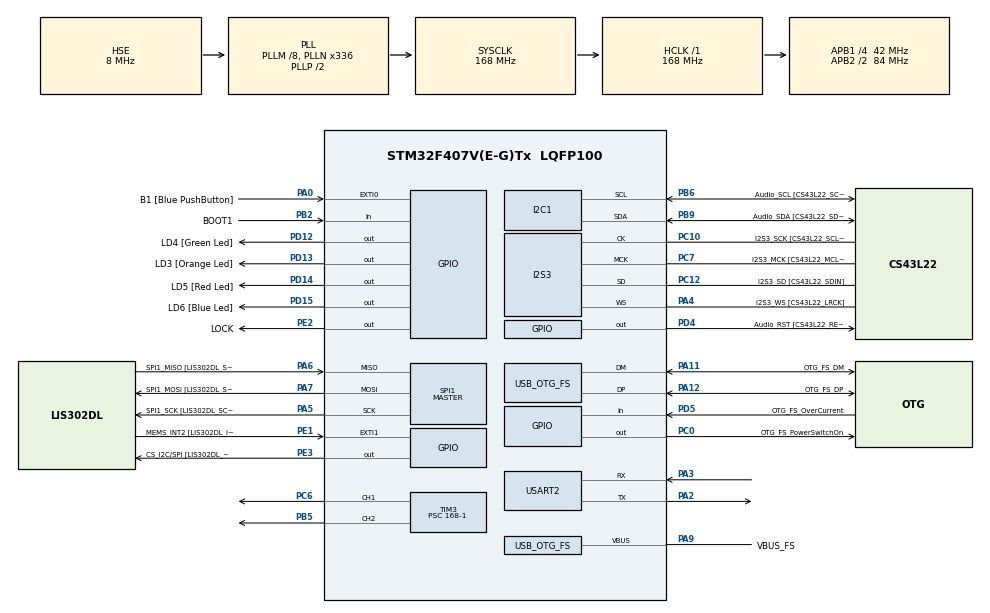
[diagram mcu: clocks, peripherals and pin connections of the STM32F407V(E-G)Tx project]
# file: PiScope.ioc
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Dma.Request0=USART2_RX
Dma.Request1=USART2_TX
Dma.USART2_RX.0.Direction=DMA_PERIPH_TO_MEMORY
Dma.USART2_RX.0.FIFOMode=DMA_FIFOMODE_DISABLE
Dma.USART2_RX.0.Instance=DMA1_Stream5
Dma.USART2_RX.0.MemDataAlignment=DMA_MDATAALIGN_BYTE
Dma.USART2_RX.0.MemInc=DMA_MINC_ENABLE
Dma.USART2_RX.0.Mode=DMA_NORMAL
Dma.USART2_RX.0.PeriphDataAlignment=DMA_PDATAALIGN_BYTE
Dma.USART2_RX.0.PeriphInc=DMA_PINC_DISABLE
Dma.USART2_RX.0.Priority=DMA_PRIORITY_LOW
Dma.USART2_TX.1.Direction=DMA_MEMORY_TO_PERIPH
Dma.USART2_TX.1.FIFOMode=DMA_FIFOMODE_DISABLE
Dma.USART2_TX.1.Instance=DMA1_Stream6
Dma.USART2_TX.1.MemDataAlignment=DMA_MDATAALIGN_BYTE
Dma.USART2_TX.1.MemInc=DMA_MINC_ENABLE
Dma.USART2_TX.1.Mode=DMA_NORMAL
Dma.USART2_TX.1.PeriphDataAlignment=DMA_PDATAALIGN_BYTE
Dma.USART2_TX.1.PeriphInc=DMA_PINC_DISABLE
Dma.USART2_TX.1.Priority=DMA_PRIORITY_LOW
I2S3.AudioFreq-Half_Duplex_Master=I2S_AUDIOFREQ_96K
I2S3.ErrorAudioFreq=-2.34 %
I2S3.ErrorAudioFreq-Half_Duplex_Master=0.8 %
I2S3.FullDuplexMode=I2S_FULLDUPLEXMODE_DISABLE
I2S3.Instance=SPI$Index
I2S3.RealAudioFreq=93.75 KHz
I2S3.RealAudioFreq-Half_Duplex_Master=96.774 KHz
I2S3.VirtualMode=I2S_MODE_MASTER
Mcu.Family=STM32F4
Mcu.Name=STM32F407V(E-G)Tx
Mcu.Package=LQFP100
NVIC.DMA1_Stream5_IRQn=true\:0\:0\:false\:false\:true\:false\:true\:true
NVIC.DMA1_Stream6_IRQn=true\:0\:0\:false\:false\:true\:false\:true\:true
NVIC.OTG_FS_IRQn=true\:0\:0\:false\:false\:true\:true\:true\:true
NVIC.PriorityGroup=NVIC_PRIORITYGROUP_0
PA0-WKUP.GPIO_Label=B1 [Blue PushButton]
PA0-WKUP.GPIO_ModeDefaultEXTI=GPIO_MODE_EVT_RISING
PA0-WKUP.GPIO_PuPd=GPIO_NOPULL
PA0-WKUP.Signal=GPXTI0
PA10.GPIO_Label=OTG_FS_ID
PA10.GPIO_Mode=GPIO_MODE_AF_PP
PA10.GPIO_PuPd=GPIO_NOPULL
PA10.GPIO_Speed=GPIO_SPEED_FREQ_LOW
PA10.Signal=USB_OTG_FS_ID
PA11.GPIO_Label=OTG_FS_DM
PA11.GPIO_Mode=GPIO_MODE_AF_PP
PA11.GPIO_PuPd=GPIO_NOPULL
PA11.GPIO_Speed=GPIO_SPEED_FREQ_LOW
PA11.Mode=Device_Only
PA11.Signal=USB_OTG_FS_DM
PA12.GPIO_Label=OTG_FS_DP
PA12.GPIO_Mode=GPIO_MODE_AF_PP
PA12.GPIO_PuPd=GPIO_NOPULL
PA12.GPIO_Speed=GPIO_SPEED_FREQ_LOW
PA12.Mode=Device_Only
PA12.Signal=USB_OTG_FS_DP
PA13.GPIO_Label=SWDIO
PA13.Mode=Serial_Wire
PA13.Signal=SYS_JTMS-SWDIO
PA14.GPIO_Label=SWCLK
PA14.Mode=Serial_Wire
PA14.Signal=SYS_JTCK-SWCLK
PA2.Mode=Asynchronous
PA2.Signal=USART2_TX
PA3.Mode=Asynchronous
PA3.Signal=USART2_RX
PA4.GPIO_Label=I2S3_WS [CS43L22_LRCK]
PA4.GPIO_Mode=GPIO_MODE_AF_PP
PA4.GPIO_PuPd=GPIO_NOPULL
PA4.GPIO_Speed=GPIO_SPEED_FREQ_LOW
PA4.Mode=Half_Duplex_Master
PA4.Signal=I2S3_WS
PA5.GPIO_Label=SPI1_SCK [LIS302DL_SCL/SPC]
PA5.GPIO_Mode=GPIO_MODE_AF_PP
PA5.GPIO_PuPd=GPIO_NOPULL
PA5.GPIO_Speed=GPIO_SPEED_FREQ_LOW
PA5.Mode=Full_Duplex_Master
PA5.Signal=SPI1_SCK
PA6.GPIO_Label=SPI1_MISO [LIS302DL_SDO]
PA6.GPIO_Mode=GPIO_MODE_AF_PP
PA6.GPIO_PuPd=GPIO_NOPULL
PA6.GPIO_Speed=GPIO_SPEED_FREQ_LOW
PA6.Mode=Full_Duplex_Master
PA6.Signal=SPI1_MISO
PA7.GPIO_Label=SPI1_MOSI [LIS302DL_SDA/SDI/SDO]
PA7.GPIO_Mode=GPIO_MODE_AF_PP
PA7.GPIO_PuPd=GPIO_NOPULL
PA7.GPIO_Speed=GPIO_SPEED_FREQ_LOW
PA7.Mode=Full_Duplex_Master
PA7.Signal=SPI1_MOSI
PA9.GPIO_Label=VBUS_FS
PA9.GPIO_Mode=GPIO_MODE_INPUT
PA9.GPIO_PuPd=GPIO_NOPULL
PA9.Mode=Activate_VBUS
PA9.Signal=USB_OTG_FS_VBUS
PB10.GPIO_Label=CLK_IN [MP45DT02_CLK]
PB10.GPIO_Mode=GPIO_MODE_AF_PP
PB10.GPIO_PuPd=GPIO_NOPULL
PB10.GPIO_Speed=GPIO_SPEED_FREQ_LOW
PB10.Signal=I2S2_CK
PB2.GPIO_Label=BOOT1
PB2.GPIO_Mode=GPIO_MODE_INPUT
PB2.GPIO_PuPd=GPIO_NOPULL
PB2.Signal=GPIO_Input
PB3.GPIO_Label=SWO
PB3.Signal=SYS_JTDO-SWO
PB5.Signal=S_TIM3_CH2
PB6.GPIO_Label=Audio_SCL [CS43L22_SCL]
PB6.GPIO_Mode=GPIO_MODE_AF_OD
PB6.GPIO_Pu=GPIO_PULLUP
PB6.GPIO_PuPd=GPIO_NOPULL
PB6.GPIO_Speed=GPIO_SPEED_FREQ_LOW
PB6.Mode=I2C
PB6.Signal=I2C1_SCL
PB9.GPIO_Label=Audio_SDA [CS43L22_SDA]
PB9.GPIO_Mode=GPIO_MODE_AF_OD
PB9.GPIO_Pu=GPIO_PULLUP
PB9.GPIO_PuPd=GPIO_NOPULL
PB9.GPIO_Speed=GPIO_SPEED_FREQ_LOW
PB9.Mode=I2C
PB9.Signal=I2C1_SDA
PC0.GPIO_Label=OTG_FS_PowerSwitchOn
PC0.GPIO_PuPd=GPIO_NOPULL
PC0.GPIO_Speed=GPIO_SPEED_FREQ_LOW
PC0.PinState=GPIO_PIN_SET
PC0.Signal=GPIO_Output
PC10.GPIO_Label=I2S3_SCK [CS43L22_SCLK]
PC10.GPIO_Mode=GPIO_MODE_AF_PP
PC10.GPIO_PuPd=GPIO_NOPULL
PC10.GPIO_Speed=GPIO_SPEED_FREQ_LOW
PC10.Mode=Half_Duplex_Master
PC10.Signal=I2S3_CK
PC12.GPIO_Label=I2S3_SD [CS43L22_SDIN]
PC12.GPIO_Mode=GPIO_MODE_AF_PP
PC12.GPIO_PuPd=GPIO_NOPULL
PC12.GPIO_Speed=GPIO_SPEED_FREQ_LOW
PC12.Mode=Half_Duplex_Master
PC12.Signal=I2S3_SD
PC14-OSC32_IN.GPIO_Label=PC14-OSC32_IN
PC14-OSC32_IN.Signal=RCC_OSC32_IN
PC15-OSC32_OUT.GPIO_Label=PC15-OSC32_OUT
PC15-OSC32_OUT.Signal=RCC_OSC32_OUT
PC3.GPIO_Label=PDM_OUT [MP45DT02_DOUT]
PC3.GPIO_Mode=GPIO_MODE_AF_PP
PC3.GPIO_PuPd=GPIO_NOPULL
PC3.GPIO_Speed=GPIO_SPEED_FREQ_LOW
PC3.Signal=I2S2_SD
PC6.Signal=S_TIM3_CH1
PC7.GPIO_Label=I2S3_MCK [CS43L22_MCLK]
PC7.GPIO_Mode=GPIO_MODE_AF_PP
PC7.GPIO_PuPd=GPIO_NOPULL
PC7.GPIO_Speed=GPIO_SPEED_FREQ_LOW
PC7.Mode=Master_Clock_Activated
PC7.Signal=I2S3_MCK
PD12.GPIO_Label=LD4 [Green Led]
PD12.GPIO_PuPd=GPIO_NOPULL
PD12.GPIO_Speed=GPIO_SPEED_FREQ_LOW
PD12.Signal=GPIO_Output
PD13.GPIO_Label=LD3 [Orange Led]
PD13.GPIO_PuPd=GPIO_NOPULL
PD13.GPIO_Speed=GPIO_SPEED_FREQ_LOW
PD13.Signal=GPIO_Output
PD14.GPIO_Label=LD5 [Red Led]
PD14.GPIO_PuPd=GPIO_NOPULL
PD14.GPIO_Speed=GPIO_SPEED_FREQ_LOW
PD14.Signal=GPIO_Output
PD15.GPIO_Label=LD6 [Blue Led]
PD15.GPIO_PuPd=GPIO_NOPULL
PD15.GPIO_Speed=GPIO_SPEED_FREQ_LOW
PD15.Signal=GPIO_Output
PD4.GPIO_Label=Audio_RST [CS43L22_RESET]
PD4.GPIO_PuPd=GPIO_NOPULL
PD4.GPIO_Speed=GPIO_SPEED_FREQ_LOW
PD4.Signal=GPIO_Output
PD5.GPIO_Label=OTG_FS_OverCurrent
PD5.GPIO_Mode=GPIO_MODE_INPUT
PD5.GPIO_PuPd=GPIO_NOPULL
PD5.Signal=GPIO_Input
PE1.GPIO_Label=MEMS_INT2 [LIS302DL_INT2]
PE1.GPIO_ModeDefaultEXTI=GPIO_MODE_EVT_RISING
PE1.GPIO_PuPd=GPIO_NOPULL
PE1.Signal=GPXTI1
PE2.GPIO_Label=LOCK
PE2.Signal=GPIO_Output
PE3.GPIO_Label=CS_I2C/SPI [LIS302DL_CS_I2C/SPI]
PE3.GPIO_PuPd=GPIO_NOPULL
PE3.GPIO_Speed=GPIO_SPEED_FREQ_LOW
PE3.Signal=GPIO_Output
PH0-OSC_IN.GPIO_Label=PH0-OSC_IN
PH0-OSC_IN.Mode=HSE-External-Oscillator
PH0-OSC_IN.Signal=RCC_OSC_IN
PH1-OSC_OUT.GPIO_Label=PH1-OSC_OUT
PH1-OSC_OUT.Mode=HSE-External-Oscillator
PH1-OSC_OUT.Signal=RCC_OSC_OUT
ProjectManager.HeapSize=0x200
ProjectManager.StackSize=0x400
ProjectManager.TargetToolchain=STM32CubeIDE
RCC.48MHZClocksFreq_Value=48000000
RCC.AHBFreq_Value=168000000
RCC.APB1CLKDivider=RCC_HCLK_DIV4
RCC.APB1Freq_Value=42000000
RCC.APB1TimFreq_Value=84000000
RCC.APB2CLKDivider=RCC_HCLK_DIV2
RCC.APB2Freq_Value=84000000
RCC.APB2TimFreq_Value=168000000
RCC.CortexFreq_Value=168000000
RCC.HCLKFreq_Value=168000000
RCC.HSE_VALUE=8000000
RCC.HSI_VALUE=16000000
RCC.LSE_VALUE=32768
RCC.PLLM=8
RCC.PLLN=336
RCC.PLLQ=7
RCC.SYSCLKFreq_VALUE=168000000
RCC.SYSCLKSource=RCC_SYSCLKSOURCE_PLLCLK
RCC.VCOOutputFreq_Value=336000000
SH.S_TIM3_CH1.0=TIM3_CH1,PWM Generation1 CH1
SH.S_TIM3_CH2.0=TIM3_CH2,PWM Generation2 CH2
SPI1.BaudRatePrescaler-Full_Duplex_Master=SPI_BAUDRATEPRESCALER_2
SPI1.CalculateBaudRate-Full_Duplex_Master=42.0 MBits/s
SPI1.Direction=SPI_DIRECTION_2LINES
SPI1.Mode=SPI_MODE_MASTER
SPI1.Mode-Full_Duplex_Master=SPI_MODE_MASTER
SPI1.VirtualType=VM_MASTER
TIM3.Channel-PWM\ Generation1\ CH1=TIM_CHANNEL_1
TIM3.Channel-PWM\ Generation2\ CH2=TIM_CHANNEL_2
TIM3.Period=10000-1
TIM3.Prescaler=168-1
USART2.VirtualMode=VM_ASYNC
USB_DEVICE.CLASS_NAME_FS=CDC
USB_DEVICE.VirtualMode-CDC_FS=Cdc
USB_DEVICE.VirtualModeFS=Cdc_FS
USB_OTG_FS.VirtualMode=Device_Only
VP_USB_DEVICE_VS_USB_DEVICE_CDC_FS.Mode=CDC_FS
board=STM32F407G-DISC1

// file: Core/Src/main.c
/* USER CODE BEGIN Header */
/**
  ******************************************************************************
  * @file           : main.c
  * @brief          : Main program body
  ******************************************************************************
  * @attention
  *
  * Copyright (c) 2025 STMicroelectronics.
  * All rights reserved.
  *
  * This software is licensed under terms that can be found in the LICENSE file
  * in the root directory of this software component.
  * If no LICENSE file comes with this software, it is provided AS-IS.
  *
  ******************************************************************************
  */
/* USER CODE END Header */
#include "main.h"
#include "usb_device.h"

/* USER CODE BEGIN Includes */
#include "usbd_cdc_if.h"
#include <string.h>
#include <stdbool.h>
#include <stdlib.h>
/* USER CODE END Includes */

/* USER CODE BEGIN PD */
// Servo pulse range
#define SERVO_MIN_PULSE 250
#define SERVO_MAX_PULSE 1250

// Camera frame dimensions
#define FRAME_WIDTH 640
#define FRAME_HEIGHT 480

// Center of frame
#define CENTER_X (FRAME_WIDTH / 2)
#define CENTER_Y (FRAME_HEIGHT / 2)
#define TRACKING_GAIN 2

// Lock timer
#define MAX_LOCK_TIME 10000
#define UNLOCK_COUNT 2
#define LOCKED 1
#define UNLOCKED 0
/* USER CODE END PD */

I2C_HandleTypeDef hi2c1;

I2S_HandleTypeDef hi2s3;

SPI_HandleTypeDef hspi1;

TIM_HandleTypeDef htim3;

UART_HandleTypeDef huart2;
DMA_HandleTypeDef hdma_usart2_rx;
DMA_HandleTypeDef hdma_usart2_tx;

void SystemClock_Config(void);
static void MX_GPIO_Init(void);
static void MX_DMA_Init(void);
static void MX_I2C1_Init(void);
static void MX_I2S3_Init(void);
static void MX_SPI1_Init(void);
static void MX_TIM3_Init(void);
static void MX_USART2_UART_Init(void);

/* USER CODE BEGIN 0 */
// Data in
static volatile bool uart_rx_done = false;
char buffer[64];
char buffer2[64];
uint8_t tx_buffer[64];
uint8_t rx_buffer[19];
char message[25];
char name[10];

//Lock variables
char old_name[10];
int lock_count;
int lock_start_time;
int curr_time;
int detect_start_time;
int lock_state; // Locked == 1

// Servo position data
int x_int;
int y_int;
int servoPosX = (SERVO_MIN_PULSE + SERVO_MAX_PULSE) / 2;
int servoPosY = (SERVO_MIN_PULSE + SERVO_MAX_PULSE) / 2;

/* USER CODE END 0 */

int main(void)
{

  /* MCU Configuration--------------------------------------------------------*/

  /* Reset of all peripherals, Initializes the Flash interface and the Systick. */
  HAL_Init();

  /* Configure the system clock */
  SystemClock_Config();

  /* Initialize all configured peripherals */
  MX_GPIO_Init();
  MX_DMA_Init();
  MX_I2C1_Init();
  MX_I2S3_Init();
  MX_SPI1_Init();
  MX_USB_DEVICE_Init();
  MX_TIM3_Init();
  MX_USART2_UART_Init();
  /* USER CODE BEGIN 2 */
    lock_count = 0;
    lock_state = 1;
    lock_start_time = HAL_GetTick();
    detect_start_time = HAL_GetTick();
	HAL_UART_Receive_DMA(&huart2, rx_buffer, 25);
  	HAL_TIM_PWM_Start(&htim3, TIM_CHANNEL_1);
    HAL_TIM_PWM_Start(&htim3, TIM_CHANNEL_2);
    HAL_GPIO_WritePin(GPIOE, GPIO_PIN_2, lock_state);
  	__HAL_TIM_SET_COMPARE(&htim3, TIM_CHANNEL_1, 750);  // Midpoint for pan
  	__HAL_TIM_SET_COMPARE(&htim3, TIM_CHANNEL_2, 750);  // Midpoint for tilt
  /* USER CODE END 2 */

  /* Infinite loop */
  while (1)
  {

    /* USER CODE BEGIN 3 */
	if(uart_rx_done){
		decodeData();
		uart_rx_done = false;
		HAL_UART_Receive_DMA(&huart2, rx_buffer, 25);
	}
	curr_time = HAL_GetTick();
	if(!lock_state) {
		// lock if unlocked for more than MAX_LOCK_TIME
		if (curr_time - lock_start_time > MAX_LOCK_TIME){
		    lock_state = LOCKED;
		}
	} else {
		if(curr_time - detect_start_time < MAX_LOCK_TIME){
			if(lock_count == UNLOCK_COUNT) {
				lock_state = UNLOCKED;
				lock_start_time = HAL_GetTick();
			} else {
				lock_state = LOCKED;
			}
		} else {
			// if detection time passes MAX_LOCK_TIME reset counter
			lock_count = 0;
			lock_state = LOCKED;
		}
	}

    HAL_GPIO_WritePin(GPIOE, GPIO_PIN_2, lock_state);
	HAL_Delay(10);

	//Debug Serial printing
//	if(uart_rx_done){
//		sprintf(buffer2, "%i, %i, %s\n" , x_int, y_int, name);
//		CDC_Transmit_FS((uint8_t*)buffer2, strlen(buffer2));
//	}
  }
  /* USER CODE END 3 */
}

void SystemClock_Config(void)
{
  RCC_OscInitTypeDef RCC_OscInitStruct = {0};
  RCC_ClkInitTypeDef RCC_ClkInitStruct = {0};

  /** Configure the main internal regulator output voltage
  */
  __HAL_RCC_PWR_CLK_ENABLE();
  __HAL_PWR_VOLTAGESCALING_CONFIG(PWR_REGULATOR_VOLTAGE_SCALE1);

  /** Initializes the RCC Oscillators according to the specified parameters
  * in the RCC_OscInitTypeDef structure.
  */
  RCC_OscInitStruct.OscillatorType = RCC_OSCILLATORTYPE_HSE;
  RCC_OscInitStruct.HSEState = RCC_HSE_ON;
  RCC_OscInitStruct.PLL.PLLState = RCC_PLL_ON;
  RCC_OscInitStruct.PLL.PLLSource = RCC_PLLSOURCE_HSE;
  RCC_OscInitStruct.PLL.PLLM = 8;
  RCC_OscInitStruct.PLL.PLLN = 336;
  RCC_OscInitStruct.PLL.PLLP = RCC_PLLP_DIV2;
  RCC_OscInitStruct.PLL.PLLQ = 7;
  if (HAL_RCC_OscConfig(&RCC_OscInitStruct) != HAL_OK)
  {
    Error_Handler();
  }

  /** Initializes the CPU, AHB and APB buses clocks
  */
  RCC_ClkInitStruct.ClockType = RCC_CLOCKTYPE_HCLK|RCC_CLOCKTYPE_SYSCLK
                              |RCC_CLOCKTYPE_PCLK1|RCC_CLOCKTYPE_PCLK2;
  RCC_ClkInitStruct.SYSCLKSource = RCC_SYSCLKSOURCE_PLLCLK;
  RCC_ClkInitStruct.AHBCLKDivider = RCC_SYSCLK_DIV1;
  RCC_ClkInitStruct.APB1CLKDivider = RCC_HCLK_DIV4;
  RCC_ClkInitStruct.APB2CLKDivider = RCC_HCLK_DIV2;

  if (HAL_RCC_ClockConfig(&RCC_ClkInitStruct, FLASH_LATENCY_5) != HAL_OK)
  {
    Error_Handler();
  }
}

static void MX_I2C1_Init(void)
{

  hi2c1.Instance = I2C1;
  hi2c1.Init.ClockSpeed = 100000;
  hi2c1.Init.DutyCycle = I2C_DUTYCYCLE_2;
  hi2c1.Init.OwnAddress1 = 0;
  hi2c1.Init.AddressingMode = I2C_ADDRESSINGMODE_7BIT;
  hi2c1.Init.DualAddressMode = I2C_DUALADDRESS_DISABLE;
  hi2c1.Init.OwnAddress2 = 0;
  hi2c1.Init.GeneralCallMode = I2C_GENERALCALL_DISABLE;
  hi2c1.Init.NoStretchMode = I2C_NOSTRETCH_DISABLE;
  if (HAL_I2C_Init(&hi2c1) != HAL_OK)
  {
    Error_Handler();
  }

}

static void MX_I2S3_Init(void)
{

  hi2s3.Instance = SPI3;
  hi2s3.Init.Mode = I2S_MODE_MASTER_TX;
  hi2s3.Init.Standard = I2S_STANDARD_PHILIPS;
  hi2s3.Init.DataFormat = I2S_DATAFORMAT_16B;
  hi2s3.Init.MCLKOutput = I2S_MCLKOUTPUT_ENABLE;
  hi2s3.Init.AudioFreq = I2S_AUDIOFREQ_96K;
  hi2s3.Init.CPOL = I2S_CPOL_LOW;
  hi2s3.Init.ClockSource = I2S_CLOCK_PLL;
  hi2s3.Init.FullDuplexMode = I2S_FULLDUPLEXMODE_DISABLE;
  if (HAL_I2S_Init(&hi2s3) != HAL_OK)
  {
    Error_Handler();
  }

}

static void MX_SPI1_Init(void)
{

  /* SPI1 parameter configuration*/
  hspi1.Instance = SPI1;
  hspi1.Init.Mode = SPI_MODE_MASTER;
  hspi1.Init.Direction = SPI_DIRECTION_2LINES;
  hspi1.Init.DataSize = SPI_DATASIZE_8BIT;
  hspi1.Init.CLKPolarity = SPI_POLARITY_LOW;
  hspi1.Init.CLKPhase = SPI_PHASE_1EDGE;
  hspi1.Init.NSS = SPI_NSS_SOFT;
  hspi1.Init.BaudRatePrescaler = SPI_BAUDRATEPRESCALER_2;
  hspi1.Init.FirstBit = SPI_FIRSTBIT_MSB;
  hspi1.Init.TIMode = SPI_TIMODE_DISABLE;
  hspi1.Init.CRCCalculation = SPI_CRCCALCULATION_DISABLE;
  hspi1.Init.CRCPolynomial = 10;
  if (HAL_SPI_Init(&hspi1) != HAL_OK)
  {
    Error_Handler();
  }

}

static void MX_TIM3_Init(void)
{

  TIM_MasterConfigTypeDef sMasterConfig = {0};
  TIM_OC_InitTypeDef sConfigOC = {0};

  htim3.Instance = TIM3;
  htim3.Init.Prescaler = 168-1;
  htim3.Init.CounterMode = TIM_COUNTERMODE_UP;
  htim3.Init.Period = 10000-1;
  htim3.Init.ClockDivision = TIM_CLOCKDIVISION_DIV1;
  htim3.Init.AutoReloadPreload = TIM_AUTORELOAD_PRELOAD_DISABLE;
  if (HAL_TIM_PWM_Init(&htim3) != HAL_OK)
  {
    Error_Handler();
  }
  sMasterConfig.MasterOutputTrigger = TIM_TRGO_RESET;
  sMasterConfig.MasterSlaveMode = TIM_MASTERSLAVEMODE_DISABLE;
  if (HAL_TIMEx_MasterConfigSynchronization(&htim3, &sMasterConfig) != HAL_OK)
  {
    Error_Handler();
  }
  sConfigOC.OCMode = TIM_OCMODE_PWM1;
  sConfigOC.Pulse = 0;
  sConfigOC.OCPolarity = TIM_OCPOLARITY_HIGH;
  sConfigOC.OCFastMode = TIM_OCFAST_DISABLE;
  if (HAL_TIM_PWM_ConfigChannel(&htim3, &sConfigOC, TIM_CHANNEL_1) != HAL_OK)
  {
    Error_Handler();
  }
  if (HAL_TIM_PWM_ConfigChannel(&htim3, &sConfigOC, TIM_CHANNEL_2) != HAL_OK)
  {
    Error_Handler();
  }
  HAL_TIM_MspPostInit(&htim3);

}

static void MX_USART2_UART_Init(void)
{

  huart2.Instance = USART2;
  huart2.Init.BaudRate = 115200;
  huart2.Init.WordLength = UART_WORDLENGTH_8B;
  huart2.Init.StopBits = UART_STOPBITS_1;
  huart2.Init.Parity = UART_PARITY_NONE;
  huart2.Init.Mode = UART_MODE_TX_RX;
  huart2.Init.HwFlowCtl = UART_HWCONTROL_NONE;
  huart2.Init.OverSampling = UART_OVERSAMPLING_16;
  if (HAL_UART_Init(&huart2) != HAL_OK)
  {
    Error_Handler();
  }

}

static void MX_DMA_Init(void)
{

  /* DMA controller clock enable */
  __HAL_RCC_DMA1_CLK_ENABLE();

  /* DMA interrupt init */
  /* DMA1_Stream5_IRQn interrupt configuration */
  HAL_NVIC_SetPriority(DMA1_Stream5_IRQn, 0, 0);
  HAL_NVIC_EnableIRQ(DMA1_Stream5_IRQn);
  /* DMA1_Stream6_IRQn interrupt configuration */
  HAL_NVIC_SetPriority(DMA1_Stream6_IRQn, 0, 0);
  HAL_NVIC_EnableIRQ(DMA1_Stream6_IRQn);

}

static void MX_GPIO_Init(void)
{
  GPIO_InitTypeDef GPIO_InitStruct = {0};

  /* GPIO Ports Clock Enable */
  __HAL_RCC_GPIOE_CLK_ENABLE();
  __HAL_RCC_GPIOC_CLK_ENABLE();
  __HAL_RCC_GPIOH_CLK_ENABLE();
  __HAL_RCC_GPIOA_CLK_ENABLE();
  __HAL_RCC_GPIOB_CLK_ENABLE();
  __HAL_RCC_GPIOD_CLK_ENABLE();

  /*Configure GPIO pin Output Level */
  HAL_GPIO_WritePin(GPIOE, LOCK_Pin|CS_I2C_SPI_Pin, GPIO_PIN_RESET);

  /*Configure GPIO pin Output Level */
  HAL_GPIO_WritePin(OTG_FS_PowerSwitchOn_GPIO_Port, OTG_FS_PowerSwitchOn_Pin, GPIO_PIN_SET);

  /*Configure GPIO pin Output Level */
  HAL_GPIO_WritePin(GPIOD, LD4_Pin|LD3_Pin|LD5_Pin|LD6_Pin
                          |Audio_RST_Pin, GPIO_PIN_RESET);

  /*Configure GPIO pins : LOCK_Pin CS_I2C_SPI_Pin */
  GPIO_InitStruct.Pin = LOCK_Pin|CS_I2C_SPI_Pin;
  GPIO_InitStruct.Mode = GPIO_MODE_OUTPUT_PP;
  GPIO_InitStruct.Pull = GPIO_NOPULL;
  GPIO_InitStruct.Speed = GPIO_SPEED_FREQ_LOW;
  HAL_GPIO_Init(GPIOE, &GPIO_InitStruct);

  /*Configure GPIO pin : OTG_FS_PowerSwitchOn_Pin */
  GPIO_InitStruct.Pin = OTG_FS_PowerSwitchOn_Pin;
  GPIO_InitStruct.Mode = GPIO_MODE_OUTPUT_PP;
  GPIO_InitStruct.Pull = GPIO_NOPULL;
  GPIO_InitStruct.Speed = GPIO_SPEED_FREQ_LOW;
  HAL_GPIO_Init(OTG_FS_PowerSwitchOn_GPIO_Port, &GPIO_InitStruct);

  /*Configure GPIO pin : PDM_OUT_Pin */
  GPIO_InitStruct.Pin = PDM_OUT_Pin;
  GPIO_InitStruct.Mode = GPIO_MODE_AF_PP;
  GPIO_InitStruct.Pull = GPIO_NOPULL;
  GPIO_InitStruct.Speed = GPIO_SPEED_FREQ_LOW;
  GPIO_InitStruct.Alternate = GPIO_AF5_SPI2;
  HAL_GPIO_Init(PDM_OUT_GPIO_Port, &GPIO_InitStruct);

  /*Configure GPIO pin : B1_Pin */
  GPIO_InitStruct.Pin = B1_Pin;
  GPIO_InitStruct.Mode = GPIO_MODE_EVT_RISING;
  GPIO_InitStruct.Pull = GPIO_NOPULL;
  HAL_GPIO_Init(B1_GPIO_Port, &GPIO_InitStruct);

  /*Configure GPIO pin : BOOT1_Pin */
  GPIO_InitStruct.Pin = BOOT1_Pin;
  GPIO_InitStruct.Mode = GPIO_MODE_INPUT;
  GPIO_InitStruct.Pull = GPIO_NOPULL;
  HAL_GPIO_Init(BOOT1_GPIO_Port, &GPIO_InitStruct);

  /*Configure GPIO pin : CLK_IN_Pin */
  GPIO_InitStruct.Pin = CLK_IN_Pin;
  GPIO_InitStruct.Mode = GPIO_MODE_AF_PP;
  GPIO_InitStruct.Pull = GPIO_NOPULL;
  GPIO_InitStruct.Speed = GPIO_SPEED_FREQ_LOW;
  GPIO_InitStruct.Alternate = GPIO_AF5_SPI2;
  HAL_GPIO_Init(CLK_IN_GPIO_Port, &GPIO_InitStruct);

  /*Configure GPIO pins : LD4_Pin LD3_Pin LD5_Pin LD6_Pin
                           Audio_RST_Pin */
  GPIO_InitStruct.Pin = LD4_Pin|LD3_Pin|LD5_Pin|LD6_Pin
                          |Audio_RST_Pin;
  GPIO_InitStruct.Mode = GPIO_MODE_OUTPUT_PP;
  GPIO_InitStruct.Pull = GPIO_NOPULL;
  GPIO_InitStruct.Speed = GPIO_SPEED_FREQ_LOW;
  HAL_GPIO_Init(GPIOD, &GPIO_InitStruct);

  /*Configure GPIO pin : OTG_FS_OverCurrent_Pin */
  GPIO_InitStruct.Pin = OTG_FS_OverCurrent_Pin;
  GPIO_InitStruct.Mode = GPIO_MODE_INPUT;
  GPIO_InitStruct.Pull = GPIO_NOPULL;
  HAL_GPIO_Init(OTG_FS_OverCurrent_GPIO_Port, &GPIO_InitStruct);

  /*Configure GPIO pin : MEMS_INT2_Pin */
  GPIO_InitStruct.Pin = MEMS_INT2_Pin;
  GPIO_InitStruct.Mode = GPIO_MODE_EVT_RISING;
  GPIO_InitStruct.Pull = GPIO_NOPULL;
  HAL_GPIO_Init(MEMS_INT2_GPIO_Port, &GPIO_InitStruct);

}

/* USER CODE BEGIN 4 */
void update_servo_position(int x, int y) {
    int errorX = x - CENTER_X;
    int errorY = y - CENTER_Y;

    servoPosX -= errorX / TRACKING_GAIN;
    servoPosY -= errorY / TRACKING_GAIN;

    if (servoPosX < SERVO_MIN_PULSE) servoPosX = SERVO_MIN_PULSE;
    if (servoPosX > SERVO_MAX_PULSE) servoPosX = SERVO_MAX_PULSE;
    if (servoPosY < SERVO_MIN_PULSE) servoPosY = SERVO_MIN_PULSE;
    if (servoPosY > SERVO_MAX_PULSE) servoPosY = SERVO_MAX_PULSE;

    __HAL_TIM_SET_COMPARE(&htim3, TIM_CHANNEL_2, servoPosX);
    __HAL_TIM_SET_COMPARE(&htim3, TIM_CHANNEL_1, servoPosY);
}

void HAL_UART_RxCpltCallback (UART_HandleTypeDef *huart) {
	uart_rx_done = true;
}

void decodeData(){
	for(int i=0; i<25; i++) {
		message[i] = (char)(rx_buffer[i]);
	}
	float x,y;
	char *token;

	token = strtok(message, " ");
	if (token != NULL) {
		x = atof(token);
	}

	token = strtok(NULL, " ");
	if (token != NULL) {
		y = atof(token);
	}

	token = strtok(NULL, " ");
	if (token != NULL) {
		strncpy(name, token, sizeof(name)-1);
		name[sizeof(name) - 1] = '\0';
	}
	x_int = (int) x;
	y_int = (int) y;
	update_servo_position(x_int, y_int);

	if(strcmp(old_name, name) == 0){
		lock_count++;
	}
	if(lock_count == 1) {
		detect_start_time = HAL_GetTick();
	}
	strncpy(old_name, name, sizeof(name)-1);
}
/* USER CODE END 4 */

void Error_Handler(void)
{
  __disable_irq();
  while (1)
  {
  }
}
